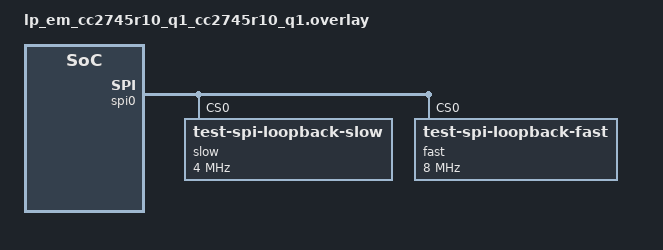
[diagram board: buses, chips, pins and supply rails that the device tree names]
/*
 * Copyright (c) 2022 Kumar Gala <galak@kernel.org>
 *
 * SPDX-License-Identifier: Apache-2.0
 *
 * Internal loopback (SPI_MODE_LOOP, see board .conf): no jumper needed.
 * The on-board SPI flash and its chip select are removed so the loopback
 * traffic can never address the flash (cs-gpios[0] is the flash CS, and a
 * 4th pinctrl pin would be used as hardware CS by the driver).
 */

/delete-node/ &mx25r80;

&spi0 {
	/delete-property/ cs-gpios;
	pinctrl-0 = <&spi0_sck_default
		     &spi0_mosi_default
		     &spi0_miso_default>;
	pinctrl-1 = <&spi0_sck_sleep
		     &spi0_mosi_sleep
		     &spi0_miso_sleep>;
	pinctrl-names = "default", "sleep";

	slow@0 {
		compatible = "test-spi-loopback-slow";
		reg = <0>;
		spi-max-frequency = <4000000>;
	};
	fast@0 {
		compatible = "test-spi-loopback-fast";
		reg = <0>;
		spi-max-frequency = <8000000>;
	};
};
